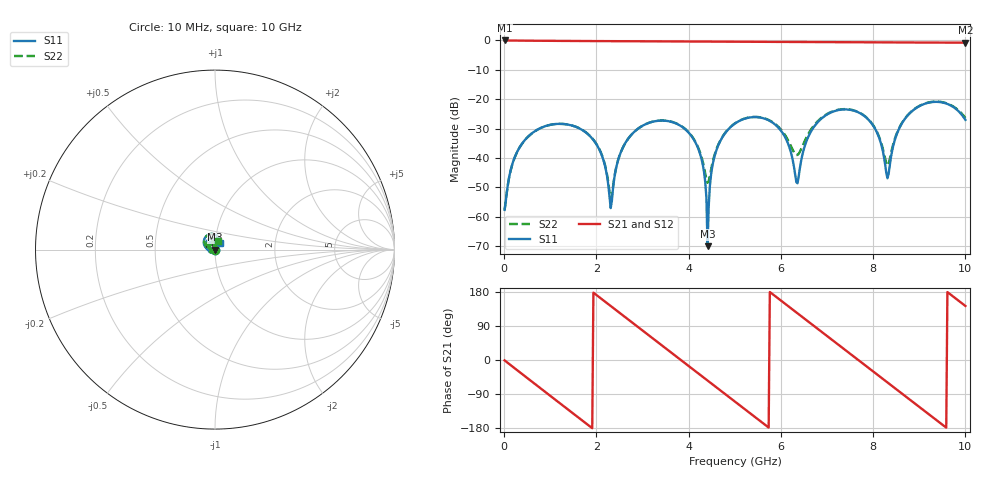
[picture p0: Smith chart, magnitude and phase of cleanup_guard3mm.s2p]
! Layout cleanup equivalence validation - 38 mm 50 ohm stripline
! Case: Cleanup, 3 mm guard - +/-0.5 and +/-2.5 mm pairs kept
! Solver: Ansys HFSS 3D Layout 2026 R1, broadband adaptive 1-5 GHz,
!  Delta S 0.02, interpolating sweep 10 MHz - 10 GHz
# GHz S MA R 50.000000
! Terminal data exported
! Port[1] = U1.PAD1.SIG
! Port[2] = U2.PAD1.SIG
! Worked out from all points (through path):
!   401 points, 10 MHz to 10 GHz, reference 50 ohm
!   highest |S21| = -0.01 dB at 10 MHz (marker M1); lowest = -0.8 dB at 10 GHz (marker M2)
!   group delay of S21, straight-line fit = 260 ps
!   lowest |S11| = -70.0 dB at 4.41 GHz (marker M3), VSWR 1.00, Z = 50 + j0.013 ohm
!   |S11| at or under -10 dB: start of sweep to end of sweep
!   |S22| runs from -57.6 to -20.8 dB; largest |S21 - S12| = 7.3e-14
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0.01  0.001311 -7.8  0.9986 -1.0  0.9986 -1.0  0.001311 -7.8
0.285  0.01287 -98.8  0.9928 -27.2  0.9928 -27.2  0.01282 -99.5
0.885  0.03468 -166.4  0.9847 -83.7  0.9847 -83.7  0.03459 -168.3
1.685  0.0302 114.3  0.9766 -158.8  0.9766 -158.8  0.03039 113.9
2.085  0.01281 72.0  0.9736 163.6  0.9736 163.6  0.01303 80.5
2.31  0.001405 -25.3  0.9717 142.5  0.9717 142.5  0.002023 131.6
2.66  0.01977 -153.0  0.9686 109.6  0.9686 109.6  0.01976 -168.2
3.36  0.04311 138.1  0.9623 44.1  0.9623 44.1  0.04332 131.3
4.11  0.02069 66.2  0.9571 -26.1  0.9571 -26.1  0.02116 69.2
4.41  0.0003163 24.2  0.9552 -54.2  0.9552 -54.2  0.003784 116.4
4.61  0.01416 -160.9  0.9536 -73.0  0.9536 -73.0  0.01464 179.2
5.01  0.03887 160.9  0.95 -110.5  0.95 -110.5  0.03914 153.6
5.885  0.03651 76.0  0.9442 167.7  0.9442 167.7  0.03746 86.1
6.36  0.003711 -66.9  0.9415 123.2  0.9415 123.2  0.01128 124.4
6.685  0.03112 -167.3  0.9388 92.8  0.9388 92.8  0.03321 159.6
7.56  0.06452 107.4  0.9316 11.0  0.9316 11.0  0.06523 96.5
8.01  0.03461 68.8  0.93 -31.1  0.93 -31.1  0.03527 63.8
8.335  0.005359 153.3  0.9284 -61.6  0.9284 -61.6  0.007972 134.8
8.56  0.03125 -178.5  0.9264 -82.8  0.9264 -82.8  0.03195 170.5
8.935  0.07101 151.4  0.9219 -117.9  0.9219 -117.9  0.07165 145.9
9.485  0.08851 100.9  0.9176 -169.2  0.9176 -169.2  0.08958 101.9
10  0.04452 51.5  0.9167 142.6  0.9167 142.6  0.0481 70.6
